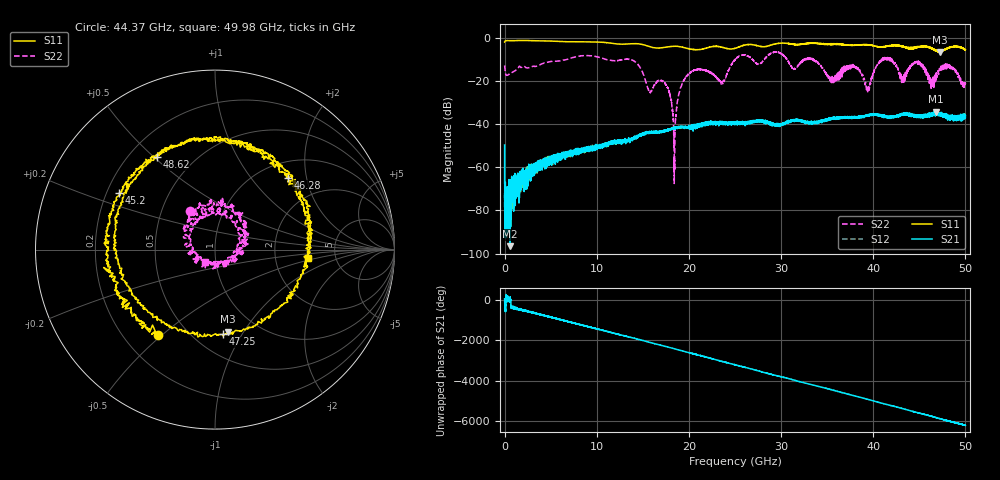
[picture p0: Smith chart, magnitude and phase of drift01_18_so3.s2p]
!Created with skrf (http://scikit-rf.org).
# Hz S RI R 50.0
!freq ReS11 ImS11 ReS21 ImS21 ReS12 ImS12 ReS22 ImS22
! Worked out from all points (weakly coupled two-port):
!   10001 points, 300 kHz to 50 GHz, reference 50 ohm
!   highest |S21| = -34.32 dB at 46.77 GHz (marker M1); lowest = -96.6 dB at 600.3 MHz (marker M2)
!   lowest |S11| = -6.7 dB at 47.23 GHz (marker M3), VSWR 2.72, Z = 36.6 - j42.5 ohm
!   |S11| at or under -10 dB: nowhere
!   |S22| runs from -67.6 to -6.6 dB; largest |S21 - S12| = 0.0039
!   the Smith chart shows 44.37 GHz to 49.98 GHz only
!   S11 on the Smith chart (normalised r, x): 44.37 GHz: 0.34, -0.48; 45.2 GHz: 0.25, +0.26; 46.28 GHz: 1.32, +1.57; 47.25 GHz: 0.69, -0.83; 48.62 GHz: 0.31, +0.51; 49.98 GHz: 3.11, -0.39
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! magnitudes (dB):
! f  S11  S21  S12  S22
! 300 kHz  -2.1  -49.8  -74.5  -12.9
! 255.3 MHz  -1.4  -72.8  -92.5  -17.5
! 600.3 MHz  -1.5  -96.6  -77.7  -16.7
! 8.335 GHz  -1.9  -51.9  -52.6  -8.5
! 16.67 GHz  -4.8  -44.1  -43.8  -20.0
! 17.74 GHz  -4.3  -42.6  -42.6  -23.8
! 18.43 GHz  -4.1  -42.0  -41.9  -61.0
! 19.89 GHz  -5.1  -41.3  -41.4  -17.1
! 23.59 GHz  -4.5  -39.2  -39.6  -20.5
! 25 GHz  -5.0  -39.6  -39.7  -10.4
! 33.34 GHz  -2.6  -39.8  -39.5  -9.9
! 39.46 GHz  -3.3  -36.2  -36.0  -23.8
! 41.67 GHz  -3.9  -36.4  -36.9  -9.7
! 44.37 GHz  -4.9  -35.7  -36.1  -11.8
! 45.2 GHz  -4.2  -36.7  -36.4  -12.3
! 46.28 GHz  -4.8  -35.9  -35.5  -20.8
! 46.77 GHz  -5.8  -34.3  -35.4  -19.8
! 47.23 GHz  -6.7  -36.3  -35.5  -15.1
! 47.25 GHz  -6.5  -35.9  -35.9  -15.5
! 48.62 GHz  -4.3  -37.2  -37.2  -14.6
! 49.98 GHz  -5.7  -37.1  -37.2  -21.3
! 50 GHz  -5.6  -36.3  -36.5  -21.3
